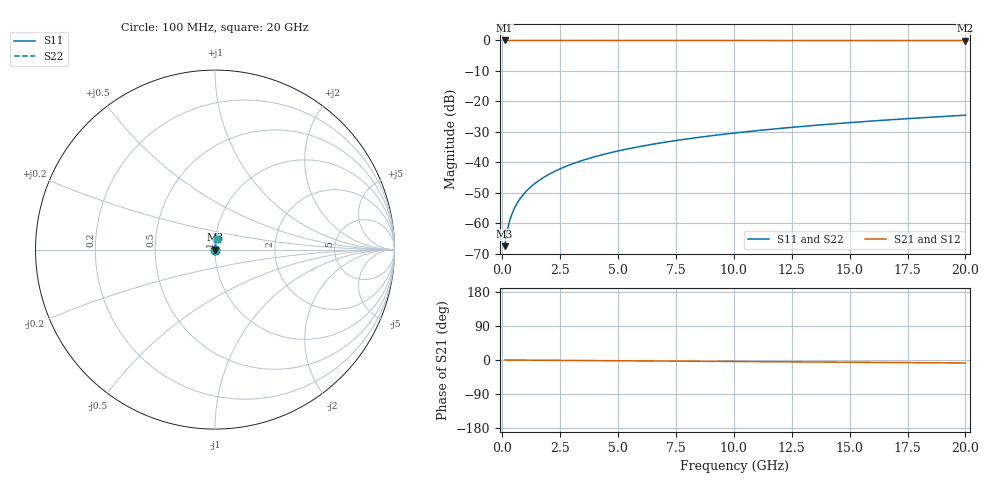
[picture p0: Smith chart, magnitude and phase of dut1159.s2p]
! Touchstone file exported from HFSS 2026.1.0
!  File:  C:/ffzhzh/LocalFiles/Ansys_Project_Files/temp_train_TSV_1159_1783191750_43440.aedt
!  Generated:  03:04:14 AM Jul  5, 2026
!  Design:  TSV
!  Project:  temp_train_TSV_1159_1783191750_43440
! Variables:
!  h_bsmrdl = 2um
!  h_ox = 20um
!  h_rdl = 5um
!  h_sub = 66.52um
!  h_tmrdl = 5um
!  h_tsv = 66.52um
!  h_via = 3um
!  l_bsmrdl = 300um
!  l_sub = 411.9um
!  l_tmrdl = 200um
!  m_sub = 200um
!  pitch = 45.53um
!  r_tsv = 5.95um
!  s_tmrdl = 10um
!  w_bsmrdl = 18um
!  w_sub = 500um
!  w_tmrdl = 12um
!  x_tsv_center1 = 206um
!  x_tsv_center2 = 524um
!  x_tsv_center3 = 736um
!  x_tsv_center4 = 1054um
!  x_tsv_center5 = 1266um
!  x_tsv_center6 = 1584um
# GHz S MA R 50.000000
! Terminal data exported
! Port[1] = TSV1_1_T1
! Port[2] = TSV1_1_T2
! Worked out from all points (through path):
!   200 points, 100 MHz to 20 GHz, reference 50 ohm
!   highest |S21| = 0.00 dB at 100 MHz (marker M1); lowest = 0.0 dB at 20 GHz (marker M2)
!   group delay of S21, straight-line fit = 1.09 ps
!   lowest |S11| = -67.6 dB at 100 MHz (marker M3), VSWR 1.00, Z = 50 + j0.0335 ohm
!   |S11| at or under -10 dB: start of sweep to end of sweep
!   |S22| runs from -67.6 to -24.6 dB; largest |S21 - S12| = 5.4e-15
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0.1  0.0004177 53.3  0.9998 -0.0  0.9998 -0.0  0.0004177 53.3
! Gamma 0 0 0 0
! Port Impedance 50 0 50 0
0.2  0.0007163 68.8  0.9997 -0.1  0.9997 -0.1  0.0007163 68.8
0.3  0.001034 74.6  0.9997 -0.1  0.9997 -0.1  0.001034 74.6
0.4  0.001354 77.6  0.9997 -0.2  0.9997 -0.2  0.001354 77.6
0.5  0.001673 79.3  0.9997 -0.2  0.9997 -0.2  0.001673 79.3
0.6  0.001988 80.4  0.9997 -0.2  0.9997 -0.2  0.001988 80.4
0.7  0.002301 81.2  0.9997 -0.3  0.9997 -0.3  0.002301 81.2
0.8  0.002612 81.8  0.9996 -0.3  0.9996 -0.3  0.002612 81.8
1  0.00323 82.7  0.9996 -0.4  0.9996 -0.4  0.00323 82.7
1.4  0.004454 83.8  0.9995 -0.6  0.9995 -0.6  0.004454 83.8
1.7  0.005368 84.3  0.9995 -0.7  0.9995 -0.7  0.005368 84.3
2  0.006281 84.6  0.9995 -0.8  0.9995 -0.8  0.006281 84.6
2.7  0.008405 85.0  0.9994 -1.1  0.9994 -1.1  0.008405 85.0
3.5  0.01082 85.1  0.9993 -1.4  0.9993 -1.4  0.01082 85.1
4.2  0.01292 85.1  0.9992 -1.7  0.9992 -1.7  0.01292 85.1
5  0.01531 85.1  0.9991 -2.0  0.9991 -2.0  0.01531 85.1
6.8  0.02065 84.7  0.9989 -2.7  0.9989 -2.7  0.02065 84.7
8.3  0.02507 84.4  0.9987 -3.3  0.9987 -3.3  0.02507 84.4
10.1  0.03037 83.9  0.9984 -4.0  0.9984 -4.0  0.03037 83.9
13.4  0.04003 82.9  0.9979 -5.3  0.9979 -5.3  0.04003 82.9
16.7  0.04965 81.8  0.9973 -6.6  0.9973 -6.6  0.04965 81.8
20  0.05919 80.6  0.9967 -7.8  0.9967 -7.8  0.05919 80.6
